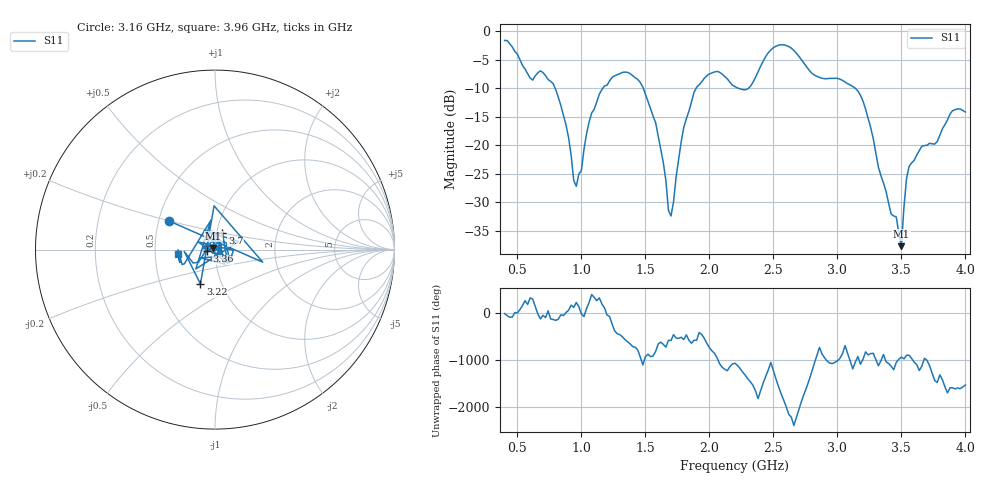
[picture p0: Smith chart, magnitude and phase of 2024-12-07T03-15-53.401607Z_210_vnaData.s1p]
!Created with skrf (http://scikit-rf.org).
# Hz S RI R 50.0
!freq ReS11 ImS11
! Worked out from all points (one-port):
!   181 points, 400 MHz to 4 GHz, reference 50 ohm
!   lowest |S11| = -37.6 dB at 3.5 GHz (marker M1), VSWR 1.03, Z = 49 + j0.88 ohm
!   |S11| at or under -10 dB: 794.9 MHz to 1.168 GHz (372.7 MHz wide, 38 % of centre); 1.483 GHz to 1.896 GHz (412.6 MHz wide, 24.4 % of centre); 3.14 GHz to end of sweep (the widest 3 of 4)
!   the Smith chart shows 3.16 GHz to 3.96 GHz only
!   S11 on the Smith chart (normalised r, x): 3.16 GHz: 0.57, +0.20; 3.22 GHz: 0.79, -0.32; 3.36 GHz: 0.91, -0.02; 3.7 GHz: 1.07, +0.20; 3.96 GHz: 0.66, -0.04
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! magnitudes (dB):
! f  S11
! 400 MHz  -1.6
! 600 MHz  -8.2
! 780 MHz  -9.2
! 860 MHz  -14.7
! 960 MHz  -27.2
! 1.08 GHz  -14.3
! 1.3 GHz  -7.5
! 1.5 GHz  -11.0
! 1.58 GHz  -16.0
! 1.7 GHz  -32.4
! 1.76 GHz  -22.4
! 1.9 GHz  -9.8
! 2.06 GHz  -7.0
! 2.2 GHz  -9.7
! 2.32 GHz  -9.7
! 2.52 GHz  -2.6
! 2.66 GHz  -3.4
! 2.82 GHz  -7.7
! 3.1 GHz  -9.4
! 3.16 GHz  -10.5
! 3.22 GHz  -13.6
! 3.36 GHz  -26.6
! 3.5 GHz  -37.6
! 3.54 GHz  -25.8
! 3.56 GHz  -23.7
! 3.7 GHz  -20.0
! 3.96 GHz  -13.6
! 4 GHz  -14.2
